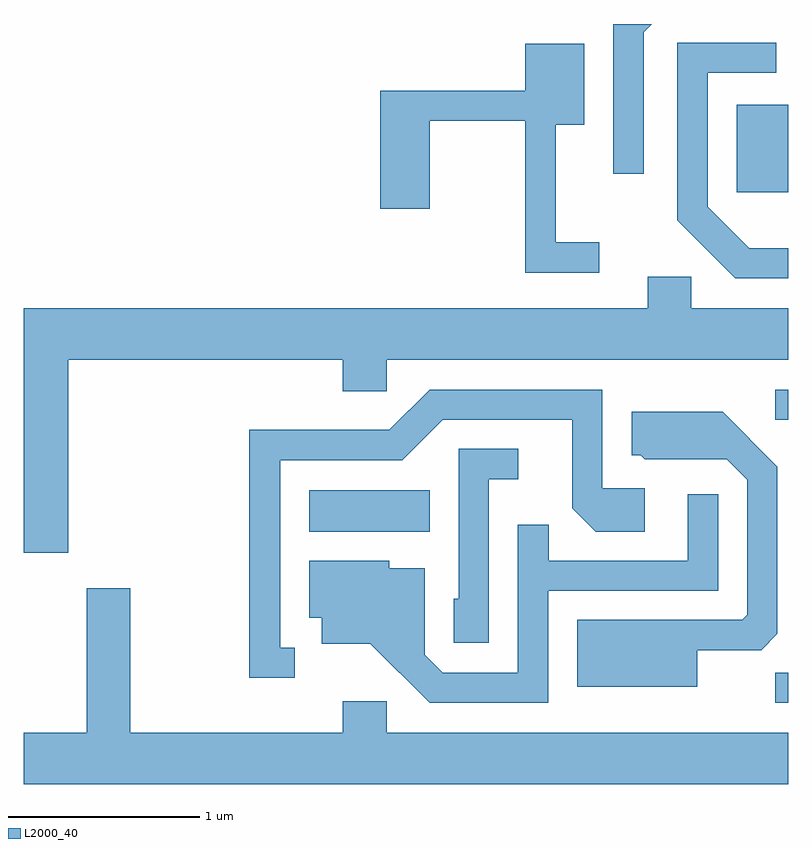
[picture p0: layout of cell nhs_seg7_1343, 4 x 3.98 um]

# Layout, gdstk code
import gdstk
lib = gdstk.Library(unit=1e-6, precision=1e-09)
def R(c, l, rs):  # rectangles x0, y0, x1, y1
    for r in rs: c.add(gdstk.rectangle(r[:2], r[2:], *l))
def P(c, l, *ps):  # polygons
    for p in ps: c.add(gdstk.Polygon(p, *l))
L2000_40 = (2000, 40)

nhs_seg7_1343 = lib.new_cell('nhs_seg7_1343')
R(nhs_seg7_1343, L2000_40, [(229.543,1754.701,229.611,1754.859), (227.106,1755.596,227.734,1755.814), (229.543,1756.181,229.611,1756.339), (229.341,1757.371,229.611,1757.829)])
P(nhs_seg7_1343, L2000_40, [(228.854,1758.209),(228.897,1758.252),(228.696,1758.252),(228.696,1757.468),(228.854,1757.468)],
  [(229.611,1757.079),(229.407,1757.079),(229.189,1757.297),(229.189,1757.996),(229.548,1757.996),(229.548,1758.154),(229.031,1758.154),(229.031,1757.224),(229.334,1756.921),(229.611,1756.921)],
  [(228.623,1757.109),(228.394,1757.109),(228.394,1757.726),(228.544,1757.726),(228.544,1758.149),(228.236,1758.149),(228.236,1757.904),(227.476,1757.904),(227.476,1757.286),(227.734,1757.286),(227.734,1757.746),(228.236,1757.746),(228.236,1756.951),(228.623,1756.951)],
  [(225.844,1756.496),(227.281,1756.496),(227.281,1756.331),(227.509,1756.331),(227.509,1756.496),(229.611,1756.496),(229.611,1756.764),(229.104,1756.764),(229.104,1756.929),(228.876,1756.929),(228.876,1756.764),(225.611,1756.764),(225.611,1755.486),(225.844,1755.486)],
  [(227.028,1754.989),(226.954,1754.989),(226.954,1755.971),(227.592,1755.971),(227.802,1756.181),(228.481,1756.181),(228.481,1755.719),(228.604,1755.596),(228.859,1755.596),(228.859,1755.824),(228.639,1755.824),(228.639,1756.339),(227.734,1756.339),(227.524,1756.129),(226.791,1756.129),(226.791,1754.831),(227.028,1754.831)],
  [(229.134,1754.976),(229.469,1754.976),(229.554,1755.062),(229.554,1755.937),(229.267,1756.224),(228.791,1756.224),(228.791,1755.996),(228.839,1755.996),(228.859,1755.976),(229.289,1755.976),(229.396,1755.869),(229.396,1755.162),(229.369,1755.134),(228.506,1755.134),(228.506,1754.786),(229.134,1754.786)],
  [(228.044,1755.871),(228.198,1755.871),(228.198,1756.029),(227.886,1756.029),(227.886,1755.244),(227.861,1755.244),(227.861,1755.016),(228.044,1755.016)],
  [(228.354,1755.286),(229.244,1755.286),(229.244,1755.793),(229.086,1755.793),(229.086,1755.444),(228.359,1755.444),(228.359,1755.633),(228.196,1755.633),(228.196,1754.859),(227.802,1754.859),(227.709,1754.952),(227.709,1755.404),(227.524,1755.404),(227.524,1755.444),(227.106,1755.444),(227.106,1755.146),(227.171,1755.146),(227.171,1755.011),(227.424,1755.011),(227.734,1754.701),(228.354,1754.701)],
  [(229.611,1754.544),(227.509,1754.544),(227.509,1754.709),(227.281,1754.709),(227.281,1754.544),(226.169,1754.544),(226.169,1755.299),(225.941,1755.299),(225.941,1754.544),(225.611,1754.544),(225.611,1754.276),(229.611,1754.276)])

lib.write_gds('nhs_seg7_1343.gds')
